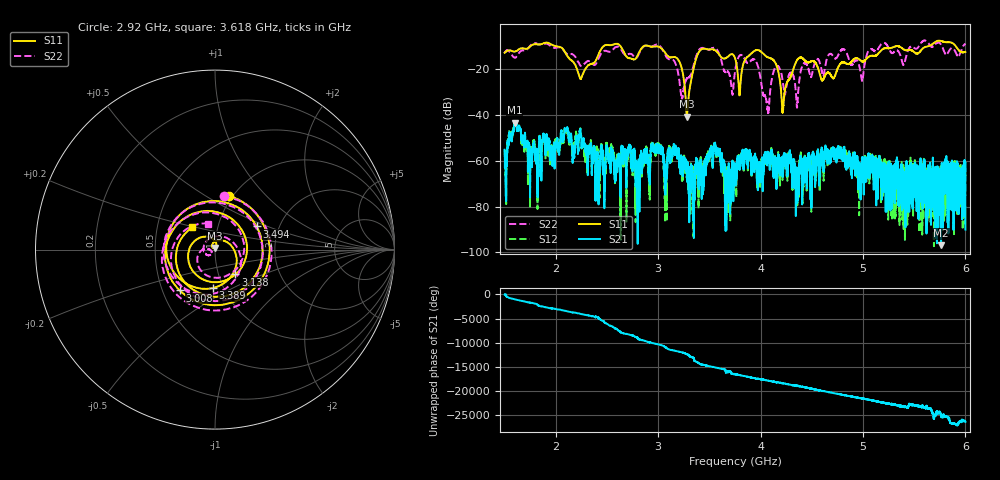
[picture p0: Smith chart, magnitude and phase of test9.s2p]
!Keysight Technologies N9923A: A.08.15
!Date: Monday, 19 February 2024 16:39:15
!Timezone: (GMT-05:00) Eastern Time (US & Canada)
!Model: N9923A
!Serial: MY52412730
!GPS Latitude:
!GPS Longitude:
!GPS TimeStamp: 0001-01-01 00:00:00Z
!GPS Seconds Since Last Read: 0
!CHECKSUM:0954616430
!Correction: S11(ON Q)S21(ON Q)S12(ON Q)S22(ON Q)
!S2P File: Measurements:S11,S21,S12,S22:
# Hz S DB R 50
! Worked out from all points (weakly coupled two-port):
!   10001 points, 1.5 GHz to 6 GHz, reference 50 ohm
!   highest |S21| = -43.41 dB at 1.598 GHz (marker M1); lowest = -96.8 dB at 5.762 GHz (marker M2)
!   lowest |S11| = -40.8 dB at 3.28 GHz (marker M3), VSWR 1.02, Z = 49.8 + j0.88 ohm
!   |S11| at or under -10 dB: start of sweep to 1.755 GHz; 1.989 GHz to 2.469 GHz (480.3 MHz wide, 21.5 % of centre); 2.904 GHz to 5.647 GHz (2.743 GHz wide, 64.2 % of centre) (the widest 3 of 6)
!   |S22| runs from -39.3 to -7.6 dB; largest |S21 - S12| = 0.0012
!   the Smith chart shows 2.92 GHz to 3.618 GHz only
!   S11 on the Smith chart (normalised r, x): 2.92 GHz: 0.97, +0.64; 3.008 GHz: 0.61, -0.31; 3.138 GHz: 1.20, -0.34; 3.389 GHz: 0.89, -0.40; 3.494 GHz: 1.53, +0.42; 3.618 GHz: 0.75, +0.19
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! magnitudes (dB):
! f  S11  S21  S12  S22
! 1.5 GHz  -13.0  -55.3  -55.5  -12.8
! 1.598 GHz  -12.5  -43.4  -43.2  -15.1
! 1.812 GHz  -9.3  -55.8  -55.3  -8.9
! 2.25 GHz  -23.9  -51.2  -50.7  -18.7
! 2.407 GHz  -14.8  -57.1  -56.1  -16.5
! 2.92 GHz  -10.2  -63.7  -65.7  -10.4
! 3 GHz  -10.3  -56.0  -53.8  -9.5
! 3.008 GHz  -10.4  -53.6  -53.7  -9.7
! 3.138 GHz  -15.0  -56.2  -56.5  -16.0
! 3.28 GHz  -40.8  -60.5  -64.1  -24.2
! 3.389 GHz  -13.4  -68.2  -67.2  -12.5
! 3.494 GHz  -11.5  -57.5  -57.7  -11.7
! 3.618 GHz  -15.0  -61.8  -60.5  -16.5
! 3.75 GHz  -15.3  -63.9  -68.9  -21.1
! 3.943 GHz  -12.0  -60.3  -59.9  -16.0
! 4.066 GHz  -14.8  -57.8  -59.2  -36.7
! 4.117 GHz  -15.8  -61.6  -59.7  -22.8
! 4.219 GHz  -37.7  -61.2  -63.7  -26.3
! 4.5 GHz  -16.6  -65.2  -65.3  -22.7
! 5.25 GHz  -11.0  -67.0  -71.8  -10.9
! 5.762 GHz  -7.8  -96.8  -62.4  -9.4
! 6 GHz  -12.7  -90.0  -75.2  -9.1
